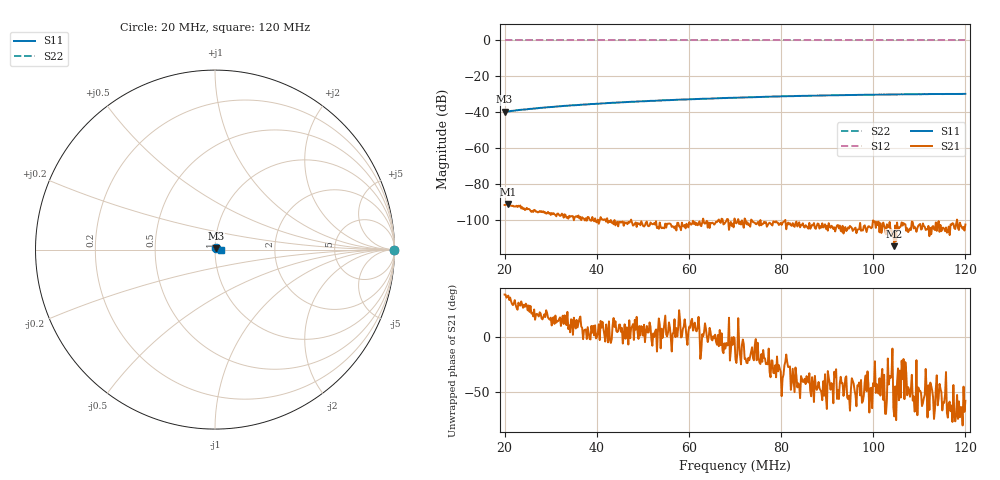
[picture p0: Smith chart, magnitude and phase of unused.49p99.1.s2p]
! Anritsu VNA Master:  Model: MS2036C/10/77
! SN:  1601066
! /bd0/18may08.cable.cal/unused.49p99.1.s2p
! Existing Calibration Information:
! TYPE:  Current Settings,  Active Cal Settings
! TIME:  05/08/2018 04:29:48 PM,  05/08/2018 04:21:58 PM
! INTERNAL TEMP:  50.0 C,  50.0 C
! # POINTS:  500,  500
! START FREQ:  20.000 MHz,  20.000 MHz
! STOP FREQ:  120.000 MHz,  120.000 MHz
! SOURCE POWER:  High,  High
! IFBW:  50 Hz,  50 Hz
! AVG FACTOR:  1 ,  1
! REF PLANE 1:  0 mm,  0 mm
! REF PLANE 2:  0 mm,  0 mm
! CAL TYPE:  Full S11,  Full S11
! CAL METHOD:  SOLT,  SOLT
! CAL LINE TYPE:  Coax,  Coax
! DUT PORT 1:  K-Conn(F),  K-Conn(F)
! DUT PORT 2:  K-Conn(F),  K-Conn(F)
! CAL STATUS:  OK: Accuracy High,  --
# GHZ S DB R 50.0
! FREQ.GHZ  S11DB  S11A  S21DB  S21A  S12DB  S12A  S22DB  S22A
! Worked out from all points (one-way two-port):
!   500 points, 20 MHz to 120 MHz, reference 50 ohm
!   highest |S21| = -91.28 dB at 20.8 MHz (marker M1); lowest = -114.9 dB at 104.6 MHz (marker M2)
!   lowest |S11| = -39.8 dB at 20 MHz (marker M3), VSWR 1.02, Z = 50.5 + j0.879 ohm
!   |S11| at or under -10 dB: start of sweep to end of sweep
!   |S22| runs from 0.0 to 0.0 dB; largest |S21 - S12| = 1
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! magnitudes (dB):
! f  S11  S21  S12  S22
! 20 MHz  -39.8  -91.9  0.0  0.0
! 20.8 MHz  -39.6  -91.3  0.0  0.0
! 23.41 MHz  -38.8  -92.2  0.0  0.0
! 28.22 MHz  -37.5  -95.9  0.0  0.0
! 33.23 MHz  -36.5  -97.5  0.0  0.0
! 36.83 MHz  -35.9  -98.7  0.0  0.0
! 42.44 MHz  -35.0  -101.8  0.0  0.0
! 45.45 MHz  -34.5  -101.3  0.0  0.0
! 53.47 MHz  -33.6  -105.2  0.0  0.0
! 57.88 MHz  -33.1  -103.9  0.0  0.0
! 61.08 MHz  -32.8  -102.5  0.0  0.0
! 62.89 MHz  -32.6  -101.7  0.0  0.0
! 70.1 MHz  -32.0  -101.7  0.0  0.0
! 78.92 MHz  -31.3  -101.0  0.0  0.0
! 86.73 MHz  -30.8  -102.9  0.0  0.0
! 97.15 MHz  -30.4  -101.9  0.0  0.0
! 103.4 MHz  -30.1  -104.3  0.0  0.0
! 104.6 MHz  -30.1  -114.9  0.0  0.0
! 109.6 MHz  -30.0  -104.8  0.0  0.0
! 110.6 MHz  -30.0  -105.3  0.0  0.0
! 112.4 MHz  -29.9  -104.6  0.0  0.0
! 120 MHz  -29.8  -102.8  0.0  0.0
